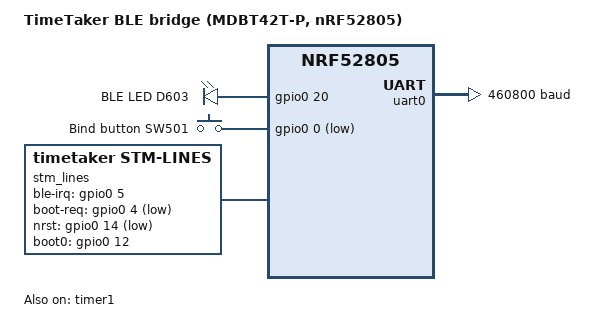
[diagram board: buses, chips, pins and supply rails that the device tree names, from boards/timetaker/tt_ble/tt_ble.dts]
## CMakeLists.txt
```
# TimeTaker BLE bridge firmware (nRF52805, NCS v3.4.2).
# BLE_FIRMWARE_GUIDE.md §8. Build: see tools/build.sh or §4.1.
cmake_minimum_required(VERSION 3.20.0)

# The custom board (boards/timetaker/tt_ble) and the stm-lines binding
# (dts/bindings) live in this folder.
list(APPEND BOARD_ROOT ${CMAKE_CURRENT_SOURCE_DIR})
list(APPEND DTS_ROOT ${CMAKE_CURRENT_SOURCE_DIR})

# Stage B of the RAM budget (guide §9, numbers in §14): the release image
# uses every fragment listed here. -DTT_STAGE_B_CONF="" builds stage A.
set(TT_STAGE_B_CONF "stage_b_mtu.conf;stage_b_dle.conf;stage_b_phy.conf"
    CACHE STRING "Stage B Kconfig fragments (empty = stage A)")
list(APPEND EXTRA_CONF_FILE ${TT_STAGE_B_CONF})

find_package(Zephyr REQUIRED HINTS $ENV{ZEPHYR_BASE})
project(timetaker_ble)

# The link codec is the control module's frame_codec, compiled from its tree.
# Do not copy it: one file, one set of host tests (guide §5.1).
set(CTRL_APP_DIR ${CMAKE_CURRENT_SOURCE_DIR}/../SideModuleFirmware/LapCounterControlModule_cmake/app)

target_sources(app PRIVATE
  src/main.c
  src/ble_link.c
  src/stm_link.c
  src/bind_ui.c
  src/stm_ctrl.c
  # Pure modules (host-tested in test/)
  src/button_classifier.c
  src/led_table.c
  src/data_slots.c
  src/link_msg.c
  src/byte_ring.c
  ${CTRL_APP_DIR}/modules/frame_codec.c
)

# Reserve exactly the configured DATA slots (data_slots.h).
target_compile_definitions(app PRIVATE SLOTS_MAX=${CONFIG_TT_DATA_SLOTS}U)

# src first: the control tree's modules folder has headers with generic names.
target_include_directories(app PRIVATE src)
target_include_directories(app PRIVATE ${CTRL_APP_DIR}/modules)

include(cmake/version.cmake)
```

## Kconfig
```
# TimeTaker BLE bridge application options.

source "Kconfig.zephyr"

menu "TimeTaker BLE bridge"

config TT_DATA_SLOTS
	int "DATA slots (credits) for STM -> BLE"
	range 1 8
	default 4
	help
	  Each slot holds one DATA frame of up to 244 bytes (BLE_FIRMWARE_GUIDE
	  §5.4). The first knob to turn if RAM runs out.

config TT_UART_RX_RING
	int "UART RX ring size (power of two)"
	default 512

config TT_UART_TX_RING
	int "UART TX ring size (power of two)"
	default 512

config TT_UART_RX_DMA_BUF
	int "UARTE RX DMA buffer size (two of them)"
	default 64

config TT_WDT_TIMEOUT_MS
	int "Watchdog timeout"
	default 4000

config TT_WDT_SELFTEST
	bool "Watchdog self-test (bench only)"
	help
	  A VERY_LONG button press (10-30 s) hangs the main loop on purpose, so
	  the watchdog must reset the chip (BENCH_TESTS.md T10). Never in a
	  release image: use the wdt_selftest.conf fragment.

endmenu
```

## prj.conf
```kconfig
#
# TimeTaker BLE bridge, stage A (BLE_FIRMWARE_GUIDE.md §9).
#
# Grown from nrf/samples/bluetooth/peripheral_uart/prj_minimal.conf (NCS
# v3.4.2), with every "frees RAM" change of §9 applied:
#   - no SMP / bonding / settings / NVS / flash (security: §6.4)
#   - no DK library, no sample write thread
#   - heap trimmed
# Stage B (MTU 247, DLE, 2M PHY) lives in stage_b_*.conf fragments; see §14
# for which ones the release build uses and the RAM/flash of each.
#

# --- STM link: UARTE0 async (DMA), 460800 8N1, no console --------------------
CONFIG_SERIAL=y
CONFIG_UART_ASYNC_API=y
CONFIG_CONSOLE=n
CONFIG_UART_CONSOLE=n
CONFIG_STDOUT_CONSOLE=n
CONFIG_PRINTK=n
CONFIG_EARLY_CONSOLE=n

# --- Our peripherals ------------------------------------------------------------
CONFIG_GPIO=y
CONFIG_WATCHDOG=y
CONFIG_I2C=n
CONFIG_SPI=n

# Event loop: k_poll on one semaphore.
CONFIG_POLL=y

# --- Memory -----------------------------------------------------------------------
# No dynamic allocation in our code; the BT host on this config needs no heap.
CONFIG_HEAP_MEM_POOL_SIZE=0
CONFIG_COMMON_LIBC_MALLOC=n

# Threads (guide §8.1). Stack sizes from prj_minimal.conf; the main loop is
# ours. Re-measure with debug.conf + the thread analyzer at bring-up.
CONFIG_MAIN_STACK_SIZE=1024
CONFIG_BT_RX_STACK_SIZE=1024
CONFIG_BT_HCI_TX_STACK_SIZE_WITH_PROMPT=y
CONFIG_BT_HCI_TX_STACK_SIZE=640
CONFIG_SYSTEM_WORKQUEUE_STACK_SIZE=1024
CONFIG_MPSL_WORK_STACK_SIZE=256
CONFIG_IDLE_STACK_SIZE=128
CONFIG_ISR_STACK_SIZE=1024

# --- Bluetooth: one connection, peripheral, NUS, no security ------------------------
CONFIG_BT=y
CONFIG_BT_PERIPHERAL=y
CONFIG_BT_DEVICE_NAME="TimeTaker"
CONFIG_BT_MAX_CONN=1
CONFIG_BT_NUS=y

# Connection parameters requested 5 s after connect (guide §6.3):
# 7.5-30 ms, latency 0, supervision timeout 4 s. The central decides.
CONFIG_BT_GAP_PERIPHERAL_PREF_PARAMS=y
CONFIG_BT_GAP_AUTO_UPDATE_CONN_PARAMS=y
CONFIG_BT_PERIPHERAL_PREF_MIN_INT=6
CONFIG_BT_PERIPHERAL_PREF_MAX_INT=24
CONFIG_BT_PERIPHERAL_PREF_LATENCY=0
CONFIG_BT_PERIPHERAL_PREF_TIMEOUT=400

# --- Interrupts, memory protection, boot --------------------------------------------
CONFIG_DYNAMIC_INTERRUPTS=n
CONFIG_IRQ_OFFLOAD=n
CONFIG_THREAD_STACK_INFO=n
CONFIG_THREAD_CUSTOM_DATA=n
CONFIG_FPU=n
CONFIG_ARM_MPU=n
CONFIG_NCS_BOOT_BANNER=n
CONFIG_BOOT_BANNER=n
CONFIG_BOOT_DELAY=0
CONFIG_SIZE_OPTIMIZATIONS=y
CONFIG_TIMESLICING=n

# --- No logging, no asserts in the release image (guide §10) -------------------------
# A fatal error reboots at once (NCS handler) instead of waiting for the WDT.
CONFIG_RESET_ON_FATAL_ERROR=y
CONFIG_LOG=n
CONFIG_ASSERT=n
CONFIG_BT_DEBUG_NONE=y
CONFIG_BT_ASSERT=n

# --- Bluetooth features not needed ---------------------------------------------------
CONFIG_BT_DATA_LEN_UPDATE=n
CONFIG_BT_PHY_UPDATE=n
CONFIG_BT_GATT_CACHING=n
CONFIG_BT_GATT_SERVICE_CHANGED=n
CONFIG_BT_HCI_VS=n
CONFIG_BT_CTLR_PRIVACY=n
CONFIG_BT_CTLR_PHY_2M=n

# --- Bluetooth buffers (prj_minimal.conf values) ------------------------------------
CONFIG_BT_BUF_EVT_DISCARDABLE_COUNT=1
CONFIG_BT_BUF_EVT_DISCARDABLE_SIZE=43
CONFIG_BT_BUF_EVT_RX_COUNT=4
CONFIG_BT_CONN_TX_MAX=3
CONFIG_BT_L2CAP_TX_BUF_COUNT=2
CONFIG_BT_ATT_TX_COUNT=2
CONFIG_BT_BUF_ACL_TX_COUNT=3
CONFIG_BT_BUF_ACL_TX_SIZE=27
```

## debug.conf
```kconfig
#
# Debug build: logging over SEGGER RTT (SWD), never in a release image.
#   BUILD=build-debug tools/build.sh -- -DEXTRA_CONF_FILE=debug.conf
# Read it with OpenOCD's RTT server (BENCH_TESTS.md T0.4). UARTE0 is the STM
# link, so RTT is the only console (guide §10).
#
CONFIG_LOG=y
CONFIG_LOG_MODE_IMMEDIATE=y
CONFIG_LOG_BACKEND_RTT=y
CONFIG_LOG_DEFAULT_LEVEL=3
CONFIG_USE_SEGGER_RTT=y
CONFIG_SEGGER_RTT_BUFFER_SIZE_UP=256
CONFIG_SEGGER_RTT_BUFFER_SIZE_DOWN=16
CONFIG_SEGGER_RTT_MAX_NUM_UP_BUFFERS=1
CONFIG_SEGGER_RTT_MAX_NUM_DOWN_BUFFERS=1

# Stack sizing (guide §9 step 1): the thread analyzer prints every thread's
# stack use over RTT every 30 s.
CONFIG_THREAD_NAME=y
CONFIG_THREAD_STACK_INFO=y
CONFIG_THREAD_ANALYZER=y
CONFIG_THREAD_ANALYZER_AUTO=y
CONFIG_THREAD_ANALYZER_AUTO_INTERVAL=30
CONFIG_THREAD_ANALYZER_USE_LOG=y
CONFIG_THREAD_ANALYZER_ISR_STACK_USAGE=y
CONFIG_THREAD_ANALYZER_AUTO_STACK_SIZE=768
```

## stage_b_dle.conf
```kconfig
# Stage B2: data length extension, 251 B link-layer packets (guide §6.3, §9).
# Without it a 244 B notification goes out as 27 B LL fragments.
CONFIG_BT_DATA_LEN_UPDATE=y
CONFIG_BT_USER_DATA_LEN_UPDATE=y
CONFIG_BT_BUF_ACL_TX_SIZE=251
CONFIG_BT_CTLR_DATA_LENGTH_MAX=251
# The peripheral starts the procedure itself (USER_DATA_LEN_UPDATE would
# otherwise turn the automatic one off).
CONFIG_BT_AUTO_DATA_LEN_UPDATE=y
```

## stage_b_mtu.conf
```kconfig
# Stage B1: ATT MTU 247 (BLE_FIRMWARE_GUIDE.md §6.3, §9).
# Notifications of up to 244 B (one STM DATA frame per notification) and
# browser writes up to 244 B. The host fragments to the link-layer size.
CONFIG_BT_L2CAP_TX_MTU=247
CONFIG_BT_BUF_ACL_RX_SIZE=251
# The ATT MTU exchange is the central's (Chrome, Android, nRF Connect do it);
# the peripheral has no GATT client to start it.
```

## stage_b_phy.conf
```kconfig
# Stage B3: 2M PHY (guide §6.3, §9). Mostly flash.
CONFIG_BT_PHY_UPDATE=y
CONFIG_BT_USER_PHY_UPDATE=y
CONFIG_BT_CTLR_PHY_2M=y
# The peripheral asks for 2M on connect; the central may still refuse.
CONFIG_BT_AUTO_PHY_PERIPHERAL_2M=y
```

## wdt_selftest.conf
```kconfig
# Bench test T10 only: a VERY_LONG press (10-30 s) hangs the main loop, the
# watchdog must reset the chip within 4 s. Never in a release image.
#   BUILD=build-wdt tools/build.sh -- -DEXTRA_CONF_FILE=wdt_selftest.conf
CONFIG_TT_WDT_SELFTEST=y
```

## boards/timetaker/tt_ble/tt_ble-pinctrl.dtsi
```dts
/*
 * TimeTaker BLE bridge pin control.
 *
 * The UART net names are the STM's view: UART1_TX (STM PB6) is the nRF's RX,
 * UART1_RX (STM PB7) is the nRF's TX. BLE_FIRMWARE_GUIDE.md §3.2.
 */

&pinctrl {
	uart0_default: uart0_default {
		group1 {
			psels = <NRF_PSEL(UART_TX, 0, 18)>;
		};
		group2 {
			psels = <NRF_PSEL(UART_RX, 0, 16)>;
			/* Keeps the line idle while the STM is in reset. */
			bias-pull-up;
		};
	};

	uart0_sleep: uart0_sleep {
		group1 {
			psels = <NRF_PSEL(UART_TX, 0, 18)>,
				<NRF_PSEL(UART_RX, 0, 16)>;
			low-power-enable;
		};
	};
};
```

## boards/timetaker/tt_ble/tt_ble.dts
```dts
/*
 * TimeTaker BLE bridge: U501 Raytac MDBT42T-P (nRF52805) on the control
 * module. Pin map: BLE_FIRMWARE_GUIDE.md §3.2, HARDWARE_REFERENCE.md §2.6.
 *
 * Differences from nrf52dk/nrf52805, all deliberate:
 *   - LDO regulator: the module's DCC pin is not connected, DC/DC would
 *     brown the chip out.
 *   - No console: UARTE0 is the STM link (460800 8N1, no flow control).
 *   - No ADC, I2C, SPI. No DK buttons/LEDs.
 */

/dts-v1/;
#include <nordic/nrf52805_caaa.dtsi>
#include "tt_ble-pinctrl.dtsi"
#include <zephyr/dt-bindings/input/input-event-codes.h>

/ {
	model = "TimeTaker BLE bridge (MDBT42T-P, nRF52805)";
	compatible = "timetaker,tt-ble";

	chosen {
		zephyr,sram = &sram0;
		zephyr,flash = &flash0;
		/* No zephyr,console: there is no UART for it (RTT in debug builds). */
	};

	leds {
		compatible = "gpio-leds";

		/* D603 via R603 1 k to GND: active high. */
		ble_led: ble_led {
			gpios = <&gpio0 20 GPIO_ACTIVE_HIGH>;
			label = "BLE LED D603";
		};
	};

	buttons {
		compatible = "gpio-keys";

		/* SW501 to GND, R501 10 k external pull-up: no internal pull. */
		bind_button: bind_button {
			gpios = <&gpio0 0 GPIO_ACTIVE_LOW>;
			label = "Bind button SW501";
			zephyr,code = <INPUT_KEY_0>;
		};
	};

	/* The lines to the STM32 (BLE_FIRMWARE_GUIDE.md §7.3). */
	stm_lines: stm_lines {
		compatible = "timetaker,stm-lines";
		/* P0.05 -> PB5: high while a central is connected. */
		ble-irq-gpios = <&gpio0 5 GPIO_ACTIVE_HIGH>;
		/* P0.04 -> PB4: BOOT_REQ, active low; unused in v1, held high. */
		boot-req-gpios = <&gpio0 4 GPIO_ACTIVE_LOW>;
		/* P0.14 -> NRST: open drain ONLY, active low. Never push-pull. */
		nrst-gpios = <&gpio0 14 (GPIO_ACTIVE_LOW | GPIO_OPEN_DRAIN)>;
		/* P0.12 -> BOOT0: never driven in v1 (R201 pull-down on the STM). */
		boot0-gpios = <&gpio0 12 GPIO_ACTIVE_HIGH>;
	};

	aliases {
		led0 = &ble_led;
		sw0 = &bind_button;
		watchdog0 = &wdt0;
	};
};

&reg {
	regulator-initial-mode = <NRF5X_REG_MODE_LDO>;
};

&uicr {
	/* P0.21 is the J501 reset pin. */
	gpio-as-nreset;
};

&gpio0 {
	status = "okay";
};

&gpiote {
	status = "okay";
};

/* TIMER1 counts UARTE RX bytes (reliable async RX without flow control).
 * TIMER0 and RTC0 belong to the BLE controller (MPSL). */
&timer1 {
	status = "okay";
};

&uart0 {
	compatible = "nordic,nrf-uarte";
	status = "okay";
	current-speed = <460800>;
	timer = <&timer1>;
	pinctrl-0 = <&uart0_default>;
	pinctrl-1 = <&uart0_sleep>;
	pinctrl-names = "default", "sleep";
};

&adc {
	status = "disabled";
};

&i2c0 {
	status = "disabled";
};

&spi0 {
	status = "disabled";
};
```

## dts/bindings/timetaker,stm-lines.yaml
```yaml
# The nRF52805's control lines to the control module STM32.
# BLE_FIRMWARE_GUIDE.md §3.2 and §7.3.

description: TimeTaker BLE bridge lines to the STM32

compatible: "timetaker,stm-lines"

properties:
  ble-irq-gpios:
    type: phandle-array
    required: true
    description: High while a BLE central is connected (STM PB5).

  boot-req-gpios:
    type: phandle-array
    required: true
    description: BOOT_REQ (STM PB4), active low. Unused in v1 (no STM bootloader); held high.

  nrst-gpios:
    type: phandle-array
    required: true
    description: STM NRST, open drain, active low. Never driven high.

  boot0-gpios:
    type: phandle-array
    required: true
    description: STM BOOT0. Never driven in v1.
```

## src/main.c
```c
/*
 * TimeTaker BLE bridge: init order, the event loop, the bridge state.
 * BLE_FIRMWARE_GUIDE.md §8.
 *
 * Everything runs here, in one thread, woken by k_poll on one semaphore:
 *
 *   UART RX (ISR)  ─┐
 *   UI timer (ISR) ─┼─► wake ─► main loop: BLE events, STM frames, notify pump,
 *   BLE callbacks  ─┘                       credits, button/LED, advertising,
 *                                           STATS, watchdog
 *
 * The only work outside this loop is the NUS write path (BT RX thread ->
 * stm_link TX ring, never blocking) and the stm_ctrl reset sequences (system
 * work queue).
 *
 * The bridge never parses host frames and stores nothing (guide §1).
 */

#include <zephyr/kernel.h>
#include <zephyr/device.h>
#include <zephyr/drivers/watchdog.h>
#include <zephyr/logging/log.h>
#include <hal/nrf_power.h>
#include <zephyr/dt-bindings/regulator/nrf5x.h>

#include "ble_link.h"
#include "ble_link_protocol.h"
#include "bind_ui.h"
#include "data_slots.h"
#include "fw_version.h"
#include "link_msg.h"
#include "stm_ctrl.h"
#include "stm_link.h"

LOG_MODULE_REGISTER(main, LOG_LEVEL_INF);

/* LDO only: the module's DCC pin is not connected (guide §3.1). */
BUILD_ASSERT(!IS_ENABLED(CONFIG_SOC_DCDC_NRF52X), "DC/DC must stay off on the MDBT42T-P");
BUILD_ASSERT(DT_PROP(DT_NODELABEL(reg), regulator_initial_mode) == NRF5X_REG_MODE_LDO,
             "board DTS must select the LDO regulator");

/* Longest sleep of the loop; the LED tick wakes it every 50 ms anyway. */
#define LOOP_MAX_SLEEP_MS     250
#define STATS_PERIOD_MS       1000U
#define ADV_RETRY_MS          100U

/* Kept in the image for SWD reads ("x/s fwVersionString"). */
__attribute__((used)) static const char fwVersionString[] = BLE_FW_VERSION_STRING;

static K_SEM_DEFINE(wakeSem, 0, 1);

static void wake(void)
{
    k_sem_give(&wakeSem);
}

/* --- State ------------------------------------------------------------------------- */

static dataSlots_t slots;

static struct {
    bool     connected;          /* our view: LINK_UP sent, LINK_DOWN not yet  */
    bool     advertiseWanted;    /* ADVERTISE from the STM; on after boot      */
    uint8_t  resetCause;         /* bleResetCause_e, for NRF_HELLO             */
    bool     stmHelloSeen;
    uint8_t  stmLinkMajor;
    uint8_t  stmLinkMinor;
    uint32_t versionMismatches;  /* STM_HELLO with another link MAJOR          */
    uint32_t stmDataDropped;     /* STM DATA not delivered to BLE              */
    uint32_t creditViolations;   /* STM DATA without a credit                  */
    uint32_t notifyFailures;
    uint32_t lastStatsMs;
    uint32_t lastAdvTryMs;
} st;

/* --- Watchdog (guide §10) ------------------------------------------------------- */

static const struct device *const wdt = DEVICE_DT_GET(DT_ALIAS(watchdog0));
static int wdtChannel = -1;

static void wdtStart(void)
{
    if (!device_is_ready(wdt)) {
        return;
    }
    const struct wdt_timeout_cfg cfg = {
        .window   = { .min = 0U, .max = CONFIG_TT_WDT_TIMEOUT_MS },
        .callback = NULL,
        .flags    = WDT_FLAG_RESET_SOC,
    };
    wdtChannel = wdt_install_timeout(wdt, &cfg);
    if (wdtChannel >= 0) {
        /* Paused while the debugger halts the CPU; it keeps running in sleep
         * (the loop wakes every 50 ms anyway). */
        (void)wdt_setup(wdt, WDT_OPT_PAUSE_HALTED_BY_DBG);
    }
}

static void wdtFeed(void)
{
    if (wdtChannel >= 0) {
        (void)wdt_feed(wdt, wdtChannel);
    }
}

static uint8_t readResetCause(void)
{
    const uint32_t reas = nrf_power_resetreas_get(NRF_POWER);
    nrf_power_resetreas_clear(NRF_POWER, reas);      /* so the next boot reads its own */
    return (uint8_t)linkResetCause(reas);
}

/* --- Messages to the STM -------------------------------------------------------- */

static void sendHello(void)
{
    bleCtrlNrfHello_t h = {
        .linkMajor  = BLE_LINK_MAJOR,
        .linkMinor  = BLE_LINK_MINOR,
        .fwMajor    = BLE_FW_VERSION_MAJOR,
        .fwMinor    = BLE_FW_VERSION_MINOR,
        .fwPatch    = BLE_FW_VERSION_PATCH,
        .credits    = slotsHelloCredits(&slots),
        .resetCause = st.resetCause,
        .reserved   = 0U,
        .fwGitRev   = (uint32_t)BLE_FW_GIT_REV,
    };
    bleLinkGetAddr(h.btAddr);
    if (stmLinkSendCtrl(BLE_CTRL_NRF_HELLO, &h, sizeof(h))) {
        slotsHelloSent(&slots);
    }
}

static void sendLinkUp(void)
{
    bleCtrlLinkUp_t up;
    if (bleLinkGetLinkUp(&up)) {
        (void)stmLinkSendCtrl(BLE_CTRL_LINK_UP, &up, sizeof(up));
    }
}

static void sendCredits(void)
{
    const uint8_t n = slotsOwed(&slots);
    if (n == 0U) {
        return;
    }
    const bleCtrlCredit_t c = { .count = n };
    if (stmLinkSendCtrl(BLE_CTRL_CREDIT, &c, sizeof(c))) {
        slotsCreditSent(&slots, n);
    }
}

/* Free slots minus the credits owed but not yet sent: those go out as CREDIT
 * messages, so counting them here too would hand the STM each one twice. */
static uint8_t statsSlotsFree(void)
{
    const uint8_t f = slotsFree(&slots);
    const uint8_t o = slotsOwed(&slots);
    return (o < f) ? (uint8_t)(f - o) : 0U;
}

static void sendStats(void)
{
    stmLinkCounters_t lc;
    stmLinkGetCounters(&lc);

    const bleCtrlStats_t s = {
        .rssi          = bleLinkRssi(),
        .slotsFree     = statsSlotsFree(),
        .dataDropped   = linkSat16(st.stmDataDropped + lc.txDropped),
        .linkCrcErrors = linkSat16(lc.badFrames + lc.badMessages),
        .uartErrors    = linkSat16(lc.uartErrors + lc.rxOverflows),
    };
    (void)stmLinkSendCtrl(BLE_CTRL_STATS, &s, sizeof(s));
}

/* --- Link state ------------------------------------------------------------------ */

static void refreshUi(void)
{
    bindUiSetLink(st.connected, !st.advertiseWanted);
}

static void linkUp(void)
{
    st.connected = true;
    stmCtrlSetBleIrq(true);
    sendLinkUp();
    st.lastStatsMs = k_uptime_get_32();
    refreshUi();
}

static void linkDown(uint8_t reason)
{
    st.connected = false;
    stmCtrlSetBleIrq(false);
    bleLinkNewSession();                  /* late sent-callbacks must not hit reused slots */
    slotsDropAll(&slots);                 /* every busy slot's credit is owed */
    const bleCtrlLinkDown_t d = { .hciReason = reason };
    (void)stmLinkSendCtrl(BLE_CTRL_LINK_DOWN, &d, sizeof(d));
    bindUiResetSession();
    refreshUi();
}

static void handleBleEvents(uint32_t ev)
{
    if ((ev & BLE_EVT_SENT) != 0U) {
        uint8_t counts[SLOTS_MAX] = { 0 };
        bleLinkTakeCompletions(counts);
        for (uint8_t i = 0U; i < SLOTS_MAX; i++) {
            for (uint8_t k = 0U; k < counts[i]; k++) {
                (void)slotsChunkSent(&slots, i);
            }
        }
    }

    /* A disconnect and a new connection may both have happened since the
     * last pass: close the old one first. */
    if ((ev & BLE_EVT_DISCONNECTED) != 0U && st.connected) {
        linkDown(bleLinkLastDisconnectReason());
    }
    if (!st.connected && bleLinkConnected()) {
        linkUp();
    } else if (st.connected && (ev & (BLE_EVT_PARAMS | BLE_EVT_NOTIFY_ON)) != 0U) {
        sendLinkUp();
    }
}

/* --- STM -> nRF ------------------------------------------------------------------ */

static void onStmData(const uint8_t *data, uint16_t len)
{
    if (st.connected && bleLinkNotifyEnabled()) {
        if (!slotsPut(&slots, data, len)) {
            st.creditViolations++;
            st.stmDataDropped++;
        }
        return;
    }
    /* Not connected, or notifications off: drop, and return the credit. */
    st.stmDataDropped++;
    if (!slotsDropIncoming(&slots)) {
        st.creditViolations++;
    }
}

static void onStmCtrl(const linkCtrlMsg_t *m)
{
    switch (m->type) {
    case BLE_CTRL_STM_HELLO:
        st.stmHelloSeen = true;
        st.stmLinkMajor = m->u.stmHello.linkMajor;
        st.stmLinkMinor = m->u.stmHello.linkMinor;
        if (st.stmLinkMajor != BLE_LINK_MAJOR) {
            /* The STM refuses DATA on a MAJOR mismatch and keeps CTRL; the
             * nRF still answers so the app can show both versions. */
            st.versionMismatches++;
        }
        sendHello();
        if (st.connected) {
            sendLinkUp();
        }
        break;

    case BLE_CTRL_UI_STATE:
        bindUiSetUiState(m->u.uiState.session, m->u.uiState.pairWindow != 0U);
        break;

    case BLE_CTRL_CUE:
        bindUiCue((m->u.cue.kind == BLE_CUE_BIND_ACCEPTED) ? LED_CUE_BIND_ACCEPTED
                                                           : LED_CUE_BINDS_CLEARED);
        break;

    case BLE_CTRL_KICK:
        if (st.connected) {
            (void)bleLinkKick(linkKickReason(m->u.kick.reason));
        }
        break;

    case BLE_CTRL_ADVERTISE:
        st.advertiseWanted = (m->u.advertise.on != 0U);
        if (!st.advertiseWanted) {
            (void)bleLinkAdvertiseStop();
            if (st.connected) {
                (void)bleLinkKick(LINK_KICK_DEFAULT_REASON);
            }
        }
        refreshUi();
        break;

    default:
        break;                           /* linkParse lets no other type through */
    }
}

static void handleStmRx(void)
{
    linkMsg_t m;
    int kind;

    while ((kind = stmLinkPoll(&m)) != 0) {
        if (kind == LINK_MSG_DATA) {
            onStmData(m.data, m.len);
        } else {
            onStmCtrl(&m.ctrl);
        }
    }
}

/* --- nRF -> BLE: notifications from the slots ------------------------------------ */

static void pumpNotifications(void)
{
    if (!st.connected) {
        return;
    }
    const uint16_t maxChunk    = bleLinkMaxChunk();
    const uint8_t  maxInFlight = bleLinkMaxInFlight();
    slotChunk_t c;

    while (slotsNextChunk(&slots, maxChunk, maxInFlight, &c)) {
        if (bleLinkNotify(c.data, c.len, c.slot) == 0) {
            slotsChunkQueued(&slots, &c);
        } else {
            /* Notifications off, or the link is going down: drop the rest of
             * the slot; its credit comes back once nothing is in flight. */
            slotsChunkFailed(&slots, &c);
            st.notifyFailures++;
            st.stmDataDropped++;
        }
    }
}

/* --- BLE -> STM: NUS writes (BT RX thread) ---------------------------------------- */

static void onBleWrite(const uint8_t *data, uint16_t len)
{
    /* One write = one DATA frame (guide §5.2). A write cannot exceed MTU - 3
     * = 244 B; split anyway, the DATA channel is a byte stream. Drops are
     * counted by stm_link (txDropped). */
    while (len > 0U) {
        const uint16_t n = (len < BLE_LINK_DATA_MAX) ? len : (uint16_t)BLE_LINK_DATA_MAX;
        (void)stmLinkSendData(data, n);
        data += n;
        len  -= n;
    }
}

/* --- Button ---------------------------------------------------------------------- */

static void handleButton(void)
{
    const btnEvent_e press = bindUiProcess();
    if (press == BTN_EVT_NONE) {
        return;
    }
    /* Reported even if the STM is silent; then it simply has no effect. */
    const bleCtrlButton_t b = { .press = (uint8_t)press };
    (void)stmLinkSendCtrl(BLE_CTRL_BUTTON, &b, sizeof(b));

#if defined(CONFIG_TT_WDT_SELFTEST)
    /* Bench test T10 only: a very long press hangs the loop on purpose. */
    if (press == BTN_EVT_VERY_LONG) {
        for (;;) {
        }
    }
#endif
}

/* --- Advertising ----------------------------------------------------------------- */

static void serviceAdvertising(bool recycled)
{
    if (!st.advertiseWanted || st.connected || bleLinkConnected() || bleLinkAdvertising()) {
        return;
    }
    const uint32_t now = k_uptime_get_32();
    if (!recycled && (now - st.lastAdvTryMs) < ADV_RETRY_MS) {
        return;
    }
    st.lastAdvTryMs = now;
    const int err = bleLinkAdvertiseStart();
    if (err != 0) {
        LOG_WRN("advertising start failed: %d (retrying)", err);
    }
}

/* --- Main ------------------------------------------------------------------------- */

static void fatalInit(const char *what, int err)
{
    /* No console to report to: let the watchdog reset and retry. */
    LOG_ERR("%s failed: %d", what, err);
    for (;;) {
        k_sleep(K_FOREVER);
    }
}

int main(void)
{
    st.resetCause      = readResetCause();
    st.advertiseWanted = true;

    /* Safe line states first: BLE_IRQ low, BOOT_REQ high, NRST released. */
    int err = stmCtrlInit();
    wdtStart();
    if (err != 0) {
        fatalInit("stm_ctrl", err);
    }

    slotsInit(&slots, CONFIG_TT_DATA_SLOTS);

    err = bindUiInit(wake);
    if (err != 0) {
        fatalInit("bind_ui", err);
    }
    err = stmLinkInit(wake);
    if (err != 0) {
        fatalInit("stm_link", err);
    }
    err = bleLinkInit(wake, onBleWrite);
    if (err != 0) {
        fatalInit("ble_link", err);
    }

    LOG_INF("TimeTaker BLE bridge %s, link %u.%u, reset cause %u",
            fwVersionString, BLE_LINK_MAJOR, BLE_LINK_MINOR, st.resetCause);

    sendHello();
    refreshUi();
    serviceAdvertising(true);

    struct k_poll_event wakeEvent =
        K_POLL_EVENT_INITIALIZER(K_POLL_TYPE_SEM_AVAILABLE, K_POLL_MODE_NOTIFY_ONLY, &wakeSem);

    for (;;) {
        (void)k_poll(&wakeEvent, 1, K_MSEC(LOOP_MAX_SLEEP_MS));
        wakeEvent.state = K_POLL_STATE_NOT_READY;
        (void)k_sem_take(&wakeSem, K_NO_WAIT);

        wdtFeed();

        const uint32_t bleEvents = bleLinkTakeEvents();
        handleBleEvents(bleEvents);
        handleStmRx();
        pumpNotifications();
        sendCredits();
        handleButton();
        serviceAdvertising((bleEvents & BLE_EVT_RECYCLED) != 0U);

        /* Always, connected or not: the STM takes STATS as the nRF's heartbeat
         * (silent 3 s = BLE bridge ABSENT in the host STATUS). */
        if ((k_uptime_get_32() - st.lastStatsMs) >= STATS_PERIOD_MS) {
            st.lastStatsMs += STATS_PERIOD_MS;
            if ((k_uptime_get_32() - st.lastStatsMs) >= STATS_PERIOD_MS) {
                st.lastStatsMs = k_uptime_get_32();     /* no catch-up bursts */
            }
            sendStats();
        }
    }
    return 0;
}
```

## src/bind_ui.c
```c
/*
 * Bind button and BLE LED. See bind_ui.h.
 */

#include "bind_ui.h"

#include <zephyr/kernel.h>
#include <zephyr/drivers/gpio.h>
#include <zephyr/sys/atomic.h>

#include "ble_link_protocol.h"

BUILD_ASSERT((LED_TICK_MS % BTN_TICK_MS) == 0U, "LED tick must be a multiple of the button tick");
#define BTN_TICKS_PER_LED_TICK (LED_TICK_MS / BTN_TICK_MS)

static const struct gpio_dt_spec button = GPIO_DT_SPEC_GET(DT_NODELABEL(bind_button), gpios);
static const struct gpio_dt_spec led    = GPIO_DT_SPEC_GET(DT_NODELABEL(ble_led), gpios);

static void (*wakeFn)(void);

/* ISR side (timer expiry). */
static btnClassifier_t classifier;
static uint8_t         subTick;
static atomic_t        pendingPress;       /* btnEvent_e, 0 = none */
static atomic_t        holdPhase;          /* btnHold_e */
static atomic_t        ledTicks;           /* LED ticks not yet rendered */
static struct k_timer  uiTimer;

/* Main side. */
static ledRenderer_t renderer;
static ledInputs_t   inputs;
static bool          ledOn;

static void uiTimerExpiry(struct k_timer *t)
{
    ARG_UNUSED(t);
    bool wake = false;

    const int level = gpio_pin_get_dt(&button);     /* 1 = pressed (active low in DTS) */
    const btnEvent_e ev = btnSample(&classifier, level > 0);
    if (ev != BTN_EVT_NONE) {
        atomic_set(&pendingPress, ev);
        wake = true;
    }
    const btnHold_e hold = btnHold(&classifier);
    if (atomic_set(&holdPhase, hold) != (atomic_val_t)hold) {
        wake = true;
    }

    if (++subTick >= BTN_TICKS_PER_LED_TICK) {
        subTick = 0U;
        atomic_inc(&ledTicks);
        wake = true;
    }
    if (wake && wakeFn != NULL) {
        wakeFn();
    }
}

int bindUiInit(void (*wake)(void))
{
    wakeFn = wake;
    if (!gpio_is_ready_dt(&button) || !gpio_is_ready_dt(&led)) {
        return -ENODEV;
    }
    /* No internal pull: R501 is the pull-up (guide §3.2). */
    int err = gpio_pin_configure_dt(&button, GPIO_INPUT);
    err |= gpio_pin_configure_dt(&led, GPIO_OUTPUT_INACTIVE);
    if (err != 0) {
        return err;
    }

    btnInit(&classifier);
    ledRendererInit(&renderer);
    inputs = (ledInputs_t){ .session = BLE_UI_SESSION_NONE };

    k_timer_init(&uiTimer, uiTimerExpiry, NULL);
    k_timer_start(&uiTimer, K_MSEC(BTN_TICK_MS), K_MSEC(BTN_TICK_MS));
    return 0;
}

static ledHold_e toLedHold(btnHold_e h)
{
    switch (h) {
    case BTN_HOLD_LONG:      return LED_HOLD_LONG;
    case BTN_HOLD_VERY_LONG: return LED_HOLD_VERY_LONG;
    default:                 return LED_HOLD_NONE;   /* < 2 s, or stuck: normal LED */
    }
}

btnEvent_e bindUiProcess(void)
{
    const btnEvent_e press = (btnEvent_e)atomic_clear(&pendingPress);
    if (press == BTN_EVT_SHORT) {
        ledRendererCue(&renderer, LED_CUE_PRESS);
    }

    inputs.hold = toLedHold((btnHold_e)atomic_get(&holdPhase));
    const uint32_t elapsed = (uint32_t)atomic_clear(&ledTicks);
    const bool on = ledRendererTick(&renderer, &inputs, elapsed);
    if (on != ledOn) {
        ledOn = on;
        (void)gpio_pin_set_dt(&led, on ? 1 : 0);
    }
    return press;
}

void bindUiSetUiState(uint8_t session, bool pairWindow)
{
    inputs.session    = session;
    inputs.pairWindow = pairWindow;
}

void bindUiResetSession(void)
{
    inputs.session = BLE_UI_SESSION_NONE;
}

void bindUiCue(ledCue_e cue)
{
    ledRendererCue(&renderer, cue);
}

void bindUiSetLink(bool connected, bool advertiseOff)
{
    inputs.connected    = connected;
    inputs.advertiseOff = advertiseOff;
}
```

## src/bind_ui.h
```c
/*
 * Bind button and BLE LED. BLE_FIRMWARE_GUIDE.md §7.1, §7.2.
 *
 * A 10 ms k_timer samples SW501 (ISR context) through the pure classifier
 * (button_classifier.c) and, every 50 ms, wakes the main loop for the LED.
 * The main loop renders the LED from the pure table (led_table.c) with what
 * it knows (link state) and what the STM said (UI_STATE, CUE).
 *
 * The nRF only classifies and reports; pairing and clearing are the STM's
 * decisions (control guide §5.4).
 */

#pragma once

#include <stdbool.h>
#include <stdint.h>

#include "button_classifier.h"
#include "led_table.h"

int bindUiInit(void (*wake)(void));

/* Main loop: advances the LED and returns a press released since the last
 * call (BTN_EVT_NONE if none). A short press also plays the local
 * one-blink cue. */
btnEvent_e bindUiProcess(void);

/* From the STM's UI_STATE. */
void bindUiSetUiState(uint8_t session, bool pairWindow);
/* LINK_DOWN resets the session locally; pairWindow stays the STM's. */
void bindUiResetSession(void);

/* From the STM's CUE. */
void bindUiCue(ledCue_e cue);

/* From the link state. */
void bindUiSetLink(bool connected, bool advertiseOff);
```

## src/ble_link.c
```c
/*
 * The BLE side. See ble_link.h.
 */

#include "ble_link.h"

#include <string.h>

#include <zephyr/kernel.h>
#include <zephyr/sys/atomic.h>
#include <zephyr/sys/byteorder.h>
#include <zephyr/bluetooth/bluetooth.h>
#include <zephyr/bluetooth/conn.h>
#include <zephyr/bluetooth/gatt.h>
#include <zephyr/bluetooth/hci.h>
#include <zephyr/bluetooth/uuid.h>
#include <zephyr/logging/log.h>

#include <bluetooth/services/nus.h>

LOG_MODULE_REGISTER(ble_link, LOG_LEVEL_INF);

/* Advertising (guide §6.1): flags + the 128-bit NUS UUID in the advertising
 * data, the complete name in the scan response (both do not fit in 31 B).
 * Connectable, undirected, legacy, 100 ms. */
#define ADV_INTERVAL_UNITS 160U                     /* 0.625 ms units: 100 ms */

static const struct bt_data advData[] = {
    BT_DATA_BYTES(BT_DATA_FLAGS, (BT_LE_AD_GENERAL | BT_LE_AD_NO_BREDR)),
    BT_DATA_BYTES(BT_DATA_UUID128_ALL, BT_UUID_NUS_VAL),
};

static const struct bt_data scanRsp[] = {
    BT_DATA(BT_DATA_NAME_COMPLETE, CONFIG_BT_DEVICE_NAME, sizeof(CONFIG_BT_DEVICE_NAME) - 1),
};

static void (*wakeFn)(void);
static bleWriteHandler_t writeFn;

static atomic_t events;
static atomic_t connectedFlag;
static atomic_t notifyFlag;
static atomic_t advertisingFlag;
static atomic_t lastReason;
static atomic_t rssiCache = ATOMIC_INIT(127);   /* see rssiWorkFn */

/* The connection, with our reference. Guarded by connLock. */
static struct k_spinlock connLock;
static struct bt_conn   *currentConn;

/* Notification completions per slot, and the connection generation they
 * belong to. Guarded by sentLock. */
static struct k_spinlock sentLock;
static uint32_t          generation;
static uint8_t           sentCount[SLOTS_MAX];

static const struct bt_gatt_attr *nusTxAttr;

static void postEvent(uint32_t ev)
{
    atomic_or(&events, (atomic_val_t)ev);
    if (wakeFn != NULL) {
        wakeFn();
    }
}

/* A reference to the current connection, or NULL. Unref when done. */
static struct bt_conn *connGet(void)
{
    k_spinlock_key_t key = k_spin_lock(&connLock);
    struct bt_conn *c = (currentConn != NULL) ? bt_conn_ref(currentConn) : NULL;
    k_spin_unlock(&connLock, key);
    return c;
}

static void newGeneration(void)
{
    k_spinlock_key_t key = k_spin_lock(&sentLock);
    generation = (generation + 1U) & 0x00FFFFFFU;
    for (uint8_t i = 0U; i < SLOTS_MAX; i++) {
        sentCount[i] = 0U;
    }
    k_spin_unlock(&sentLock, key);
}

/* --- Connection callbacks (BT RX thread) ---------------------------------------- */

static void onConnected(struct bt_conn *conn, uint8_t err)
{
    atomic_set(&advertisingFlag, 0);
    if (err != 0U) {
        LOG_WRN("connection failed: 0x%02x", err);
        postEvent(BLE_EVT_RECYCLED);           /* advertise again */
        return;
    }

    newGeneration();
    k_spinlock_key_t key = k_spin_lock(&connLock);
    if (currentConn != NULL) {
        bt_conn_unref(currentConn);
    }
    currentConn = bt_conn_ref(conn);
    k_spin_unlock(&connLock, key);

    atomic_set(&notifyFlag, 0);
    atomic_set(&rssiCache, 127);
    atomic_set(&connectedFlag, 1);
    postEvent(BLE_EVT_CONNECTED);
}

static void onDisconnected(struct bt_conn *conn, uint8_t reason)
{
    ARG_UNUSED(conn);

    newGeneration();
    k_spinlock_key_t key = k_spin_lock(&connLock);
    struct bt_conn *old = currentConn;
    currentConn = NULL;
    k_spin_unlock(&connLock, key);
    if (old != NULL) {
        bt_conn_unref(old);
    }

    atomic_set(&lastReason, reason);
    atomic_set(&notifyFlag, 0);
    atomic_set(&connectedFlag, 0);
    atomic_set(&rssiCache, 127);
    postEvent(BLE_EVT_DISCONNECTED);
}

static void onRecycled(void)
{
    postEvent(BLE_EVT_RECYCLED);
}

static void onParamUpdated(struct bt_conn *conn, uint16_t interval, uint16_t latency, uint16_t timeout)
{
    ARG_UNUSED(conn);
    ARG_UNUSED(interval);
    ARG_UNUSED(latency);
    ARG_UNUSED(timeout);
    postEvent(BLE_EVT_PARAMS);
}

#if defined(CONFIG_BT_USER_PHY_UPDATE)
static void onPhyUpdated(struct bt_conn *conn, struct bt_conn_le_phy_info *param)
{
    ARG_UNUSED(conn);
    ARG_UNUSED(param);
    postEvent(BLE_EVT_PARAMS);
}
#endif

#if defined(CONFIG_BT_USER_DATA_LEN_UPDATE)
static void onDataLenUpdated(struct bt_conn *conn, struct bt_conn_le_data_len_info *info)
{
    ARG_UNUSED(conn);
    ARG_UNUSED(info);
    postEvent(BLE_EVT_PARAMS);
}
#endif

BT_CONN_CB_DEFINE(connCallbacks) = {
    .connected        = onConnected,
    .disconnected     = onDisconnected,
    .recycled         = onRecycled,
    .le_param_updated = onParamUpdated,
#if defined(CONFIG_BT_USER_PHY_UPDATE)
    .le_phy_updated   = onPhyUpdated,
#endif
#if defined(CONFIG_BT_USER_DATA_LEN_UPDATE)
    .le_data_len_updated = onDataLenUpdated,
#endif
};

static void onMtuUpdated(struct bt_conn *conn, uint16_t tx, uint16_t rx)
{
    ARG_UNUSED(conn);
    ARG_UNUSED(tx);
    ARG_UNUSED(rx);
    postEvent(BLE_EVT_PARAMS);
}

static struct bt_gatt_cb gattCallbacks = {
    .att_mtu_updated = onMtuUpdated,
};

/* --- NUS ------------------------------------------------------------------------- */

static void onNusReceived(struct bt_conn *conn, const uint8_t *const data, uint16_t len)
{
    ARG_UNUSED(conn);
    if (writeFn != NULL) {
        writeFn(data, len);
    }
}

static void onNusSendEnabled(enum bt_nus_send_status status)
{
    const bool on = (status == BT_NUS_SEND_STATUS_ENABLED);
    atomic_set(&notifyFlag, on ? 1 : 0);
    postEvent(on ? BLE_EVT_NOTIFY_ON : BLE_EVT_NOTIFY_OFF);
}

static struct bt_nus_cb nusCallbacks = {
    .received     = onNusReceived,
    .send_enabled = onNusSendEnabled,
};

/* Completion of one notification (system work queue). */
static void onNotifySent(struct bt_conn *conn, void *user_data)
{
    ARG_UNUSED(conn);
    const uint32_t tag  = (uint32_t)(uintptr_t)user_data;
    const uint8_t  slot = (uint8_t)(tag & 0xFFU);

    k_spinlock_key_t key = k_spin_lock(&sentLock);
    if ((tag >> 8) == generation && slot < SLOTS_MAX && sentCount[slot] < UINT8_MAX) {
        sentCount[slot]++;
    }
    k_spin_unlock(&sentLock, key);
    postEvent(BLE_EVT_SENT);
}

/* --- API ------------------------------------------------------------------------- */

int bleLinkInit(void (*wake)(void), bleWriteHandler_t onWrite)
{
    wakeFn  = wake;
    writeFn = onWrite;

    int err = bt_enable(NULL);
    if (err != 0) {
        return err;
    }
    bt_gatt_cb_register(&gattCallbacks);

    err = bt_nus_init(&nusCallbacks);
    if (err != 0) {
        return err;
    }
    nusTxAttr = bt_gatt_find_by_uuid(NULL, 0, BT_UUID_NUS_TX);
    return (nusTxAttr != NULL) ? 0 : -ENOENT;
}

uint32_t bleLinkTakeEvents(void)
{
    return (uint32_t)atomic_clear(&events);
}

uint8_t bleLinkLastDisconnectReason(void)
{
    return (uint8_t)atomic_get(&lastReason);
}

bool bleLinkConnected(void)
{
    return atomic_get(&connectedFlag) != 0;
}

bool bleLinkNotifyEnabled(void)
{
    return atomic_get(&notifyFlag) != 0;
}

int bleLinkAdvertiseStart(void)
{
    if (bleLinkConnected() || bleLinkAdvertising()) {
        return 0;
    }
    const struct bt_le_adv_param *param =
        BT_LE_ADV_PARAM(BT_LE_ADV_OPT_CONN, ADV_INTERVAL_UNITS, ADV_INTERVAL_UNITS, NULL);
    int err = bt_le_adv_start(param, advData, ARRAY_SIZE(advData), scanRsp, ARRAY_SIZE(scanRsp));
    if (err == 0 || err == -EALREADY) {
        atomic_set(&advertisingFlag, 1);
        return 0;
    }
    return err;
}

int bleLinkAdvertiseStop(void)
{
    atomic_set(&advertisingFlag, 0);
    const int err = bt_le_adv_stop();
    return err;
}

bool bleLinkAdvertising(void)
{
    return atomic_get(&advertisingFlag) != 0;
}

int bleLinkKick(uint8_t hciReason)
{
    struct bt_conn *c = connGet();
    if (c == NULL) {
        return -ENOTCONN;
    }
    const int err = bt_conn_disconnect(c, hciReason);
    bt_conn_unref(c);
    return err;
}

uint16_t bleLinkMaxChunk(void)
{
    struct bt_conn *c = connGet();
    if (c == NULL) {
        return 0U;
    }
    const uint32_t mtu = bt_gatt_get_mtu(c);
    bt_conn_unref(c);
    if (mtu <= 3U) {
        return 0U;
    }
    const uint32_t payload = mtu - 3U;
    return (uint16_t)((payload < BLE_LINK_DATA_MAX) ? payload : BLE_LINK_DATA_MAX);
}

uint8_t bleLinkMaxInFlight(void)
{
    return (CONFIG_BT_ATT_TX_COUNT > 1) ? (uint8_t)(CONFIG_BT_ATT_TX_COUNT - 1) : 1U;
}

int bleLinkNotify(const uint8_t *data, uint16_t len, uint8_t slot)
{
    struct bt_conn *c = connGet();
    if (c == NULL) {
        return -ENOTCONN;
    }

    k_spinlock_key_t key = k_spin_lock(&sentLock);
    const uint32_t tag = (generation << 8) | slot;
    k_spin_unlock(&sentLock, key);

    struct bt_gatt_notify_params params = {
        .attr      = nusTxAttr,
        .data      = data,
        .len       = len,
        .func      = onNotifySent,
        .user_data = (void *)(uintptr_t)tag,
    };
    const int err = bt_gatt_notify_cb(c, &params);
    bt_conn_unref(c);
    return err;
}

void bleLinkNewSession(void)
{
    newGeneration();
}

void bleLinkTakeCompletions(uint8_t counts[SLOTS_MAX])
{
    k_spinlock_key_t key = k_spin_lock(&sentLock);
    for (uint8_t i = 0U; i < SLOTS_MAX; i++) {
        counts[i] = (uint8_t)(counts[i] + sentCount[i]);
        sentCount[i] = 0U;
    }
    k_spin_unlock(&sentLock, key);
}

bool bleLinkGetLinkUp(bleCtrlLinkUp_t *out)
{
    struct bt_conn *c = connGet();
    if (c == NULL) {
        return false;
    }

    struct bt_conn_info info;
    const int err = bt_conn_get_info(c, &info);
    const uint16_t mtu = bt_gatt_get_mtu(c);
    bt_conn_unref(c);
    if (err != 0) {
        return false;
    }

    *out = (bleCtrlLinkUp_t){
        .attMtu        = mtu,
        .txPhy         = 1U,
        .rxPhy         = 1U,
        .intervalUnits = (uint16_t)(info.le.interval_us / 1250U),
        .latency       = info.le.latency,
        .timeout10ms   = info.le.timeout,
        .maxTxOctets   = 27U,
    };
#if defined(CONFIG_BT_USER_PHY_UPDATE)
    if (info.le.phy != NULL) {
        out->txPhy = (info.le.phy->tx_phy == BT_GAP_LE_PHY_2M) ? 2U : 1U;
        out->rxPhy = (info.le.phy->rx_phy == BT_GAP_LE_PHY_2M) ? 2U : 1U;
    }
#endif
#if defined(CONFIG_BT_USER_DATA_LEN_UPDATE)
    if (info.le.data_len != NULL) {
        out->maxTxOctets = info.le.data_len->tx_max_len;
    }
#endif
    return true;
}

/* RSSI: NCS has no connection-info field for it, only the synchronous HCI
 * Read RSSI command. That must never run on the main loop (it waits for the
 * controller and would stall the loop and the watchdog), so the system
 * workqueue does it and the loop only reads the cached value. A stuck command
 * blocks the workqueue (the bridge's LED/button sequencing), never the loop;
 * the value then simply stops updating. */
static void rssiWorkFn(struct k_work *work);
static K_WORK_DEFINE(rssiWork, rssiWorkFn);

static void rssiWorkFn(struct k_work *work)
{
    ARG_UNUSED(work);
    int8_t rssi = 127;
    struct bt_conn *c = connGet();
    if (c == NULL) {
        atomic_set(&rssiCache, 127);
        return;
    }

    uint16_t handle;
    const int herr = bt_hci_get_conn_handle(c, &handle);
    bt_conn_unref(c);
    if (herr == 0) {
        struct net_buf *buf = bt_hci_cmd_alloc(K_MSEC(10));
        if (buf != NULL) {
            struct bt_hci_cp_read_rssi *cp = net_buf_add(buf, sizeof(*cp));
            cp->handle = sys_cpu_to_le16(handle);

            struct net_buf *rsp = NULL;
            if (bt_hci_cmd_send_sync(BT_HCI_OP_READ_RSSI, buf, &rsp) == 0 && rsp != NULL) {
                const struct bt_hci_rp_read_rssi *rp = (const void *)rsp->data;
                if (rp->status == 0U) {
                    rssi = rp->rssi;
                }
            }
            if (rsp != NULL) {
                net_buf_unref(rsp);
            }
        }
    }
    /* A disconnect during the command must not leave a stale value. */
    atomic_set(&rssiCache, atomic_get(&connectedFlag) != 0 ? rssi : 127);
}

int8_t bleLinkRssi(void)
{
    if (atomic_get(&connectedFlag) == 0) {
        return 127;
    }
    (void)k_work_submit(&rssiWork);       /* no-op if already queued */
    return (int8_t)atomic_get(&rssiCache);
}

void bleLinkGetAddr(uint8_t out[6])
{
    bt_addr_le_t addrs[1];
    size_t count = ARRAY_SIZE(addrs);

    bt_id_get(addrs, &count);
    if (count == 0U) {
        memset(out, 0, 6);
        return;
    }
    memcpy(out, addrs[0].a.val, 6);
}
```

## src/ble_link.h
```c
/*
 * The BLE side: advertising, the Nordic UART Service, connection callbacks,
 * notifications with a completion callback. BLE_FIRMWARE_GUIDE.md §6.
 *
 * Bluetooth callbacks (BT RX thread, system work queue) only record what
 * happened and call wake(); the main loop reads it with bleLinkTakeEvents()
 * and acts. The one exception is the NUS write: it goes straight to the
 * write handler given at init (it encodes into the UART TX ring and never
 * blocks).
 *
 * Notifications: bleLinkNotify() tags each one with a slot index and the
 * connection generation. Its completion is counted per slot and read with
 * bleLinkTakeCompletions(). A disconnect bumps the generation, so a late
 * completion from an old connection is never credited to a new one.
 */

#pragma once

#include <stdbool.h>
#include <stdint.h>

#include "ble_link_protocol.h"
#include "data_slots.h"

/* Events for the main loop (bit mask). */
#define BLE_EVT_CONNECTED       (1U << 0)
#define BLE_EVT_DISCONNECTED    (1U << 1)
#define BLE_EVT_PARAMS          (1U << 2)   /* MTU, PHY, data length, conn params */
#define BLE_EVT_NOTIFY_ON       (1U << 3)
#define BLE_EVT_NOTIFY_OFF      (1U << 4)
#define BLE_EVT_RECYCLED        (1U << 5)   /* connection object free: advertise again */
#define BLE_EVT_SENT            (1U << 6)   /* notification completions to collect */

typedef void (*bleWriteHandler_t)(const uint8_t *data, uint16_t len);

int bleLinkInit(void (*wake)(void), bleWriteHandler_t onWrite);

uint32_t bleLinkTakeEvents(void);

/* HCI reason of the last disconnect. */
uint8_t bleLinkLastDisconnectReason(void);

bool bleLinkConnected(void);
bool bleLinkNotifyEnabled(void);

/* Advertising (guide §6.1). bleLinkAdvertiseStart() is a no-op returning 0
 * while connected or already advertising; -ENOMEM etc. means "try again
 * later" (e.g. the connection object is not recycled yet). */
int  bleLinkAdvertiseStart(void);
int  bleLinkAdvertiseStop(void);
bool bleLinkAdvertising(void);

/* Disconnects the central with the given HCI reason. */
int bleLinkKick(uint8_t hciReason);

/* Largest notification payload now: ATT MTU - 3, at most BLE_LINK_DATA_MAX.
 * 0 if not connected. */
uint16_t bleLinkMaxChunk(void);

/* Notifications the main loop may have in flight at once: one ATT buffer is
 * always left for the host's own responses, so a notify call from the main
 * thread never waits for a buffer. */
uint8_t bleLinkMaxInFlight(void);

/* Sends one notification on the NUS TX characteristic. 0 on success; the
 * completion is then counted for `slot`. */
int bleLinkNotify(const uint8_t *data, uint16_t len, uint8_t slot);

/* Moves the completion counts per slot into counts[SLOTS_MAX] (added) and
 * clears them. */
void bleLinkTakeCompletions(uint8_t counts[SLOTS_MAX]);

/* Starts a new completion generation: every notification queued so far is
 * forgotten, and its late completion callback is ignored. Call when the
 * slots are dropped (their credits returned), so a late callback can never
 * hit a slot that was freed and reused. */
void bleLinkNewSession(void);

/* LINK_UP for the current connection. false if not connected. */
bool bleLinkGetLinkUp(bleCtrlLinkUp_t *out);

/* RSSI of the connection in dBm, 127 if unknown (not connected, or not read
 * yet). Never blocks: returns the last value the system workqueue read and
 * queues a new read, so a STATS value is one second old. */
int8_t bleLinkRssi(void);

/* The identity address, little-endian, as the controller reports it. */
void bleLinkGetAddr(uint8_t out[6]);
```

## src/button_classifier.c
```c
/*
 * Bind button classifier. See button_classifier.h.
 */

#include "button_classifier.h"

void btnInit(btnClassifier_t *b)
{
    *b = (btnClassifier_t){ .stable = false, .last = false, .sameCount = BTN_DEBOUNCE_SAMPLES };
}

btnEvent_e btnClassify(uint32_t ticks)
{
    if (ticks < BTN_DEAD_MIN_TICKS) {
        return BTN_EVT_SHORT;
    }
    if (ticks < BTN_LONG_MIN_TICKS) {
        return BTN_EVT_NONE;                 /* dead zone */
    }
    if (ticks < BTN_VERY_LONG_MIN_TICKS) {
        return BTN_EVT_LONG;
    }
    if (ticks < BTN_STUCK_MIN_TICKS) {
        return BTN_EVT_VERY_LONG;
    }
    return BTN_EVT_NONE;                     /* stuck button */
}

btnEvent_e btnSample(btnClassifier_t *b, bool pressed)
{
    if (pressed == b->last) {
        if (b->sameCount < BTN_DEBOUNCE_SAMPLES) {
            b->sameCount++;
        }
    } else {
        b->last      = pressed;
        b->sameCount = 1U;
    }

    if (b->stable && b->heldTicks < BTN_STUCK_MIN_TICKS) {
        b->heldTicks++;
    }

    if (b->sameCount < BTN_DEBOUNCE_SAMPLES || pressed == b->stable) {
        return BTN_EVT_NONE;
    }

    b->stable = pressed;
    if (pressed) {
        b->heldTicks = 0U;
        return BTN_EVT_NONE;
    }
    return btnClassify(b->heldTicks);
}

btnHold_e btnHold(const btnClassifier_t *b)
{
    if (!b->stable) {
        return BTN_HOLD_NONE;
    }
    if (b->heldTicks < BTN_DEAD_MIN_TICKS) {
        return BTN_HOLD_SHORT;
    }
    if (b->heldTicks < BTN_LONG_MIN_TICKS) {
        return BTN_HOLD_DEAD;
    }
    if (b->heldTicks < BTN_VERY_LONG_MIN_TICKS) {
        return BTN_HOLD_LONG;
    }
    if (b->heldTicks < BTN_STUCK_MIN_TICKS) {
        return BTN_HOLD_VERY_LONG;
    }
    return BTN_HOLD_STUCK;
}
```
